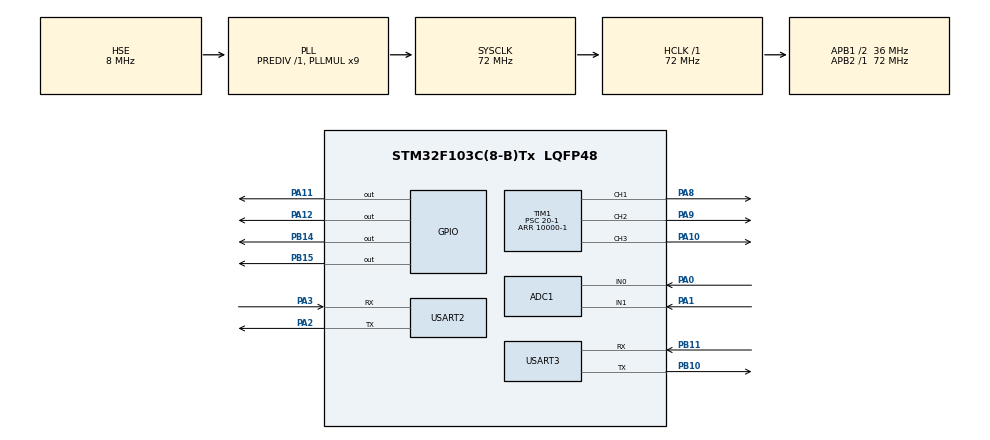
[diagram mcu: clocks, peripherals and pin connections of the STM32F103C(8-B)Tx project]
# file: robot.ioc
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ADC1.Channel-0\#ChannelRegularConversion=ADC_CHANNEL_0
ADC1.Channel-1\#ChannelRegularConversion=ADC_CHANNEL_1
ADC1.ContinuousConvMode=ENABLE
ADC1.NbrOfConversion=2
ADC1.NbrOfConversionFlag=1
ADC1.Rank-0\#ChannelRegularConversion=1
ADC1.Rank-1\#ChannelRegularConversion=2
ADC1.SamplingTime-0\#ChannelRegularConversion=ADC_SAMPLETIME_71CYCLES_5
ADC1.SamplingTime-1\#ChannelRegularConversion=ADC_SAMPLETIME_71CYCLES_5
ADC1.master=1
Dma.ADC1.0.Direction=DMA_PERIPH_TO_MEMORY
Dma.ADC1.0.Instance=DMA1_Channel1
Dma.ADC1.0.MemDataAlignment=DMA_MDATAALIGN_WORD
Dma.ADC1.0.MemInc=DMA_MINC_ENABLE
Dma.ADC1.0.Mode=DMA_CIRCULAR
Dma.ADC1.0.PeriphDataAlignment=DMA_PDATAALIGN_HALFWORD
Dma.ADC1.0.PeriphInc=DMA_PINC_DISABLE
Dma.ADC1.0.Priority=DMA_PRIORITY_LOW
Dma.Request0=ADC1
FREERTOS.Mutexes01=myMutex01,Dynamic,NULL
FREERTOS.Tasks01=defaultTask,24,128,StartDefaultTask,Default,NULL,Dynamic,NULL,NULL;myTask02,8,128,StartTask02,Default,NULL,Dynamic,NULL,NULL;myTask03,8,128,StartTask03,Default,NULL,Dynamic,NULL,NULL;myTask04,8,128,StartTask04,Default,NULL,Dynamic,NULL,NULL
Mcu.Family=STM32F1
Mcu.Name=STM32F103C(8-B)Tx
Mcu.Package=LQFP48
NVIC.DMA1_Channel1_IRQn=true\:0\:0\:false\:false\:true\:true\:false\:true
NVIC.PriorityGroup=NVIC_PRIORITYGROUP_4
NVIC.TIM4_IRQn=true\:0\:0\:false\:false\:true\:false\:false\:true
NVIC.TimeBase=TIM4_IRQn
NVIC.TimeBaseIP=TIM4
NVIC.USART2_IRQn=true\:0\:0\:false\:false\:true\:true\:true\:true
NVIC.USART3_IRQn=true\:0\:0\:false\:false\:true\:true\:true\:true
PA0-WKUP.Signal=ADCx_IN0
PA1.Signal=ADCx_IN1
PA10.Signal=S_TIM1_CH3
PA11.Signal=GPIO_Output
PA12.Signal=GPIO_Output
PA13.Mode=Serial_Wire
PA13.Signal=SYS_JTMS-SWDIO
PA14.Mode=Serial_Wire
PA14.Signal=SYS_JTCK-SWCLK
PA2.Mode=Asynchronous
PA2.Signal=USART2_TX
PA3.Mode=Asynchronous
PA3.Signal=USART2_RX
PA8.Signal=S_TIM1_CH1
PA9.Signal=S_TIM1_CH2
PB10.Mode=Asynchronous
PB10.Signal=USART3_TX
PB11.Mode=Asynchronous
PB11.Signal=USART3_RX
PB14.Signal=GPIO_Output
PB15.Signal=GPIO_Output
PD0-OSC_IN.Mode=HSE-External-Oscillator
PD0-OSC_IN.Signal=RCC_OSC_IN
PD1-OSC_OUT.Mode=HSE-External-Oscillator
PD1-OSC_OUT.Signal=RCC_OSC_OUT
ProjectManager.HeapSize=0x200
ProjectManager.StackSize=0x400
ProjectManager.TargetToolchain=MDK-ARM V5.27
RCC.ADCPresc=RCC_ADCPCLK2_DIV6
RCC.AHBFreq_Value=72000000
RCC.APB1CLKDivider=RCC_HCLK_DIV2
RCC.APB1Freq_Value=36000000
RCC.APB1TimFreq_Value=72000000
RCC.APB2Freq_Value=72000000
RCC.APB2TimFreq_Value=72000000
RCC.HCLKFreq_Value=72000000
RCC.PLLMUL=RCC_PLL_MUL9
RCC.PLLSourceVirtual=RCC_PLLSOURCE_HSE
RCC.SYSCLKFreq_VALUE=72000000
RCC.SYSCLKSource=RCC_SYSCLKSOURCE_PLLCLK
RCC.USBFreq_Value=72000000
SH.ADCx_IN0.0=ADC1_IN0,IN0
SH.ADCx_IN1.0=ADC1_IN1,IN1
SH.S_TIM1_CH1.0=TIM1_CH1,PWM Generation1 CH1
SH.S_TIM1_CH2.0=TIM1_CH2,PWM Generation2 CH2
SH.S_TIM1_CH3.0=TIM1_CH3,PWM Generation3 CH3
TIM1.Channel-PWM\ Generation1\ CH1=TIM_CHANNEL_1
TIM1.Channel-PWM\ Generation2\ CH2=TIM_CHANNEL_2
TIM1.Channel-PWM\ Generation3\ CH3=TIM_CHANNEL_3
TIM1.Period=10000-1
TIM1.Prescaler=20-1
TIM1.Pulse-PWM\ Generation1\ CH1=5000-1
TIM1.Pulse-PWM\ Generation2\ CH2=2500-1
TIM1.Pulse-PWM\ Generation3\ CH3=1250-1
USART2.VirtualMode=VM_ASYNC
USART3.VirtualMode=VM_ASYNC
VP_FREERTOS_VS_CMSIS_V2.Mode=CMSIS_V2
VP_SYS_VS_tim4.Mode=TIM4
board=custom

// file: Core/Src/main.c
/* USER CODE BEGIN Header */
/**
  ******************************************************************************
  * @file           : main.c
  * @brief          : Main program body
  ******************************************************************************
  * @attention
  *
  * <h2><center>&copy; Copyright (c) 2021 STMicroelectronics.
  * All rights reserved.</center></h2>
  *
  * This software component is licensed by ST under Ultimate Liberty license
  * SLA0044, the "License"; You may not use this file except in compliance with
  * the License. You may obtain a copy of the License at:
  *                             www.st.com/SLA0044
  *
  ******************************************************************************
  */
/* USER CODE END Header */
#include "main.h"
#include "cmsis_os.h"
#include "adc.h"
#include "dma.h"
#include "tim.h"
#include "usart.h"
#include "gpio.h"

void SystemClock_Config(void);
void MX_FREERTOS_Init(void);

int main(void)
{

  /* MCU Configuration--------------------------------------------------------*/

  /* Reset of all peripherals, Initializes the Flash interface and the Systick. */
  HAL_Init();

  /* Configure the system clock */
  SystemClock_Config();

  /* Initialize all configured peripherals */
  MX_GPIO_Init();
  MX_DMA_Init();
  MX_TIM1_Init();
  MX_USART3_UART_Init();
  MX_ADC1_Init();
  MX_USART2_UART_Init();
  /* USER CODE BEGIN 2 */
	HAL_TIM_PWM_Start(&htim1, TIM_CHANNEL_1);
	HAL_TIM_PWM_Start(&htim1, TIM_CHANNEL_2);
	HAL_TIM_PWM_Start(&htim1, TIM_CHANNEL_3);

  /* USER CODE END 2 */

  /* Init scheduler */
  osKernelInitialize();  /* Call init function for freertos objects (in freertos.c) */
  MX_FREERTOS_Init();
  /* Start scheduler */
  osKernelStart();

  /* We should never get here as control is now taken by the scheduler */
  /* Infinite loop */
  while (1)
  {

  }
}

void SystemClock_Config(void)
{
  RCC_OscInitTypeDef RCC_OscInitStruct = {0};
  RCC_ClkInitTypeDef RCC_ClkInitStruct = {0};
  RCC_PeriphCLKInitTypeDef PeriphClkInit = {0};

  /** Initializes the RCC Oscillators according to the specified parameters
  * in the RCC_OscInitTypeDef structure.
  */
  RCC_OscInitStruct.OscillatorType = RCC_OSCILLATORTYPE_HSE;
  RCC_OscInitStruct.HSEState = RCC_HSE_ON;
  RCC_OscInitStruct.HSEPredivValue = RCC_HSE_PREDIV_DIV1;
  RCC_OscInitStruct.HSIState = RCC_HSI_ON;
  RCC_OscInitStruct.PLL.PLLState = RCC_PLL_ON;
  RCC_OscInitStruct.PLL.PLLSource = RCC_PLLSOURCE_HSE;
  RCC_OscInitStruct.PLL.PLLMUL = RCC_PLL_MUL9;
  if (HAL_RCC_OscConfig(&RCC_OscInitStruct) != HAL_OK)
  {
    Error_Handler();
  }
  /** Initializes the CPU, AHB and APB buses clocks
  */
  RCC_ClkInitStruct.ClockType = RCC_CLOCKTYPE_HCLK|RCC_CLOCKTYPE_SYSCLK
                              |RCC_CLOCKTYPE_PCLK1|RCC_CLOCKTYPE_PCLK2;
  RCC_ClkInitStruct.SYSCLKSource = RCC_SYSCLKSOURCE_PLLCLK;
  RCC_ClkInitStruct.AHBCLKDivider = RCC_SYSCLK_DIV1;
  RCC_ClkInitStruct.APB1CLKDivider = RCC_HCLK_DIV2;
  RCC_ClkInitStruct.APB2CLKDivider = RCC_HCLK_DIV1;

  if (HAL_RCC_ClockConfig(&RCC_ClkInitStruct, FLASH_LATENCY_2) != HAL_OK)
  {
    Error_Handler();
  }
  PeriphClkInit.PeriphClockSelection = RCC_PERIPHCLK_ADC;
  PeriphClkInit.AdcClockSelection = RCC_ADCPCLK2_DIV6;
  if (HAL_RCCEx_PeriphCLKConfig(&PeriphClkInit) != HAL_OK)
  {
    Error_Handler();
  }
}

void HAL_TIM_PeriodElapsedCallback(TIM_HandleTypeDef *htim)
{
  if (htim->Instance == TIM4) {
    HAL_IncTick();
  }
}

void Error_Handler(void)
{
}

/************************ (C) COPYRIGHT STMicroelectronics *****END OF FILE****/

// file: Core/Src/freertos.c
/* USER CODE BEGIN Header */
/**
  ******************************************************************************
  * File Name          : freertos.c
  * Description        : Code for freertos applications
  ******************************************************************************
  * @attention
  *
  * <h2><center>&copy; Copyright (c) 2021 STMicroelectronics.
  * All rights reserved.</center></h2>
  *
  * This software component is licensed by ST under Ultimate Liberty license
  * SLA0044, the "License"; You may not use this file except in compliance with
  * the License. You may obtain a copy of the License at:
  *                             www.st.com/SLA0044
  *
  ******************************************************************************
  */
/* USER CODE END Header */

#include "FreeRTOS.h"
#include "task.h"
#include "main.h"
#include "cmsis_os.h"

/* USER CODE BEGIN Includes */
#include "usart.h"
#include "adc.h"
#include "dma.h"
#include "gpio.h"
#include <stdio.h>
#include "semphr.h"
/* USER CODE END Includes */

/* USER CODE BEGIN Variables */
uint8_t I0='N';
uint8_t I1='N';
uint8_t rx_data;
uint8_t C[4]={0, };
uint32_t adc_val[2]={0,};
char buffer[12]={0,};

/* USER CODE END Variables */
/* Definitions for defaultTask */
osThreadId_t defaultTaskHandle;
const osThreadAttr_t defaultTask_attributes = {
  .name = "defaultTask",
  .priority = (osPriority_t) osPriorityNormal,
  .stack_size = 128 * 4
};
/* Definitions for myTask02 */
osThreadId_t myTask02Handle;
const osThreadAttr_t myTask02_attributes = {
  .name = "myTask02",
  .priority = (osPriority_t) osPriorityLow,
  .stack_size = 128 * 4
};
/* Definitions for myTask03 */
osThreadId_t myTask03Handle;
const osThreadAttr_t myTask03_attributes = {
  .name = "myTask03",
  .priority = (osPriority_t) osPriorityLow,
  .stack_size = 128 * 4
};
/* Definitions for myTask04 */
osThreadId_t myTask04Handle;
const osThreadAttr_t myTask04_attributes = {
  .name = "myTask04",
  .priority = (osPriority_t) osPriorityLow,
  .stack_size = 128 * 4
};
/* Definitions for myMutex01 */
osMutexId_t myMutex01Handle;
const osMutexAttr_t myMutex01_attributes = {
  .name = "myMutex01"
};

void StartDefaultTask(void *argument);
void StartTask02(void *argument);
void StartTask03(void *argument);
void StartTask04(void *argument);

void MX_FREERTOS_Init(void); /* (MISRA C 2004 rule 8.1) */

void MX_FREERTOS_Init(void) {
  /* USER CODE BEGIN Init */
	HAL_ADC_Start_DMA(&hadc1, adc_val, 2);
	//HAL_UART_Receive_IT(&huart2, &rx_data, 1)

  /* USER CODE END Init */
  /* Create the mutex(es) */
  /* creation of myMutex01 */
  myMutex01Handle = osMutexNew(&myMutex01_attributes);

  /* Create the thread(s) */
  /* creation of defaultTask */
  defaultTaskHandle = osThreadNew(StartDefaultTask, NULL, &defaultTask_attributes);

  /* creation of myTask02 */
  myTask02Handle = osThreadNew(StartTask02, NULL, &myTask02_attributes);

  /* creation of myTask03 */
  myTask03Handle = osThreadNew(StartTask03, NULL, &myTask03_attributes);

  /* creation of myTask04 */
  myTask04Handle = osThreadNew(StartTask04, NULL, &myTask04_attributes);

}

void StartDefaultTask(void *argument)
{
  /* USER CODE BEGIN StartDefaultTask */
  /* Infinite loop */
  for(;;)
  {
		//go straight
		HAL_GPIO_WritePin(GPIOA, GPIO_PIN_11, GPIO_PIN_RESET);
		HAL_GPIO_WritePin(GPIOA, GPIO_PIN_12, GPIO_PIN_SET);//motorA
		TIM1->CCR1=6500-1;
		HAL_GPIO_WritePin(GPIOB, GPIO_PIN_14, GPIO_PIN_RESET);
		HAL_GPIO_WritePin(GPIOB, GPIO_PIN_15, GPIO_PIN_SET);//motorB
		TIM1->CCR2=6500-1;

		osDelay(1000);

		//go right
		TIM1->CCR2=2500-1;
		osDelay(1000);
		TIM1->CCR2=6500-1;
		osDelay(1000);

		//go left
		TIM1->CCR1=2500-1;
		osDelay(1000);
		TIM1->CCR1=6500-1;
		osDelay(1000);

		//go back
		HAL_GPIO_WritePin(GPIOA, GPIO_PIN_11, GPIO_PIN_SET);
		HAL_GPIO_WritePin(GPIOA, GPIO_PIN_12, GPIO_PIN_RESET);//motorA
		//TIM1->CCR1=5000-1;
		HAL_GPIO_WritePin(GPIOB, GPIO_PIN_14, GPIO_PIN_SET);
		HAL_GPIO_WritePin(GPIOB, GPIO_PIN_15, GPIO_PIN_RESET);//motorB
		//TIM1->CCR2=5000-1;

		osDelay(1000);

		osDelay(1);
  }
  /* USER CODE END StartDefaultTask */
}

void StartTask02(void *argument)
{
  /* USER CODE BEGIN StartTask02 */
	uint8_t a='a';
  /* Infinite loop */
  for(;;)
  {
		//camera UART
		if(HAL_UART_Receive(&huart2, &a, 1, 10)==HAL_OK)
		{
			HAL_UART_Transmit(&huart2, &a, 1, 10); //motor direction setting
		}

    osDelay(1);
  }
  /* USER CODE END StartTask02 */
}

void StartTask03(void *argument)
{
  /* USER CODE BEGIN StartTask03 */
  /* Infinite loop */
  for(;;)
  {
		//Infrared recieved and uart trasmit
		sprintf(buffer, "%d\r\n", adc_val[0]);
		HAL_UART_Transmit(&huart3, (uint8_t *)buffer, 10, 10);

		//infrared recieved
		if(adc_val[0] < 1000 && adc_val[0] >= 1) //IN0 infrared sensor front
		{
			I0='Y'; //go behine
		}
		else if(adc_val[1] < 1000 && adc_val[1] >= 1) //IN1 infraredd sensor behind
		{
			I1='Y'; //go front
		}
		else { I0='N', I1='N'; }
    osDelay(1);
  }
  /* USER CODE END StartTask03 */
}

void StartTask04(void *argument)
{
  /* USER CODE BEGIN StartTask04 */
  /* Infinite loop */
  for(;;)
  {
		//Color sensor recieved

    osDelay(1);
  }
  /* USER CODE END StartTask04 */
}

/************************ (C) COPYRIGHT STMicroelectronics *****END OF FILE****/
